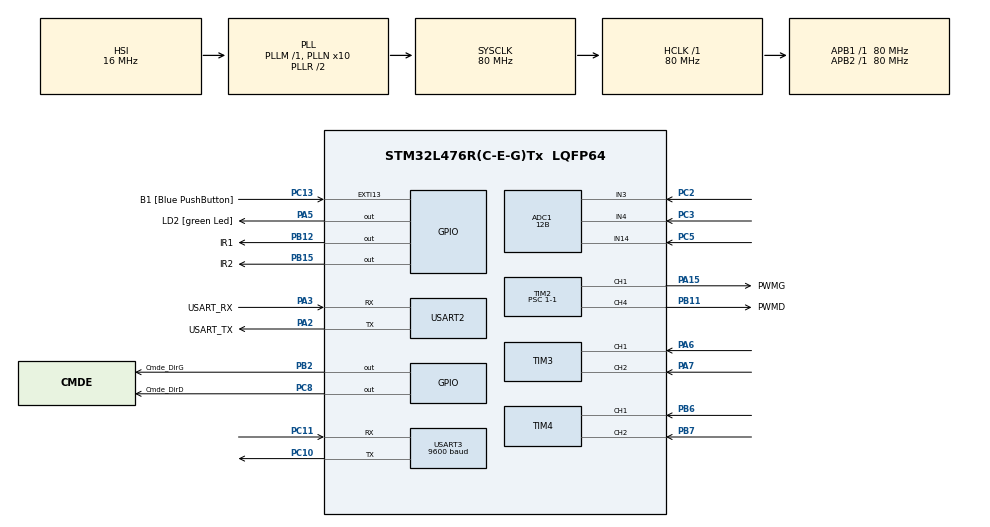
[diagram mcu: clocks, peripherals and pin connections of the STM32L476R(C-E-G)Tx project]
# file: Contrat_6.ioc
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ADC1.AWD1HighThreshold=4095
ADC1.AWD1ITMode=ENABLE
ADC1.AWD1LowThreshold=3723
ADC1.Channel-5\#ChannelRegularConversion=ADC_CHANNEL_14
ADC1.Channel-6\#ChannelRegularConversion=ADC_CHANNEL_3
ADC1.Channel-7\#ChannelRegularConversion=ADC_CHANNEL_4
ADC1.ClockPrescaler=ADC_CLOCK_ASYNC_DIV1
ADC1.DMAContinuousRequests=ENABLE
ADC1.EnableAnalogWatchDog1=true
ADC1.NbrOfConversion=3
ADC1.NbrOfConversionFlag=1
ADC1.OffsetNumber-5\#ChannelRegularConversion=ADC_OFFSET_NONE
ADC1.OffsetNumber-6\#ChannelRegularConversion=ADC_OFFSET_NONE
ADC1.OffsetNumber-7\#ChannelRegularConversion=ADC_OFFSET_NONE
ADC1.Rank-5\#ChannelRegularConversion=1
ADC1.Rank-6\#ChannelRegularConversion=2
ADC1.Rank-7\#ChannelRegularConversion=3
ADC1.Resolution=ADC_RESOLUTION_12B
ADC1.SamplingTime-5\#ChannelRegularConversion=ADC_SAMPLETIME_640CYCLES_5
ADC1.SamplingTime-6\#ChannelRegularConversion=ADC_SAMPLETIME_640CYCLES_5
ADC1.SamplingTime-7\#ChannelRegularConversion=ADC_SAMPLETIME_640CYCLES_5
ADC1.WatchdogChannel=ADC_CHANNEL_14
ADC1.master=1
Dma.ADC1.0.Direction=DMA_PERIPH_TO_MEMORY
Dma.ADC1.0.Instance=DMA1_Channel1
Dma.ADC1.0.MemDataAlignment=DMA_MDATAALIGN_HALFWORD
Dma.ADC1.0.MemInc=DMA_MINC_ENABLE
Dma.ADC1.0.Mode=DMA_NORMAL
Dma.ADC1.0.PeriphDataAlignment=DMA_PDATAALIGN_HALFWORD
Dma.ADC1.0.PeriphInc=DMA_PINC_DISABLE
Dma.ADC1.0.Priority=DMA_PRIORITY_LOW
Dma.Request0=ADC1
Mcu.Family=STM32L4
Mcu.Name=STM32L476R(C-E-G)Tx
Mcu.Package=LQFP64
NVIC.ADC1_2_IRQn=true\:0\:0\:false\:false\:true\:true\:true\:true
NVIC.DMA1_Channel1_IRQn=true\:0\:0\:false\:false\:true\:false\:true\:true
NVIC.EXTI15_10_IRQn=true\:0\:0\:false\:false\:true\:true\:true\:true
NVIC.PriorityGroup=NVIC_PRIORITYGROUP_4
NVIC.TIM2_IRQn=true\:0\:0\:false\:false\:true\:true\:true\:true
NVIC.TIM6_DAC_IRQn=true\:0\:0\:false\:false\:true\:true\:true\:true
PA13\ (JTMS-SWDIO).GPIO_Label=TMS
PA13\ (JTMS-SWDIO).Mode=Serial_Wire
PA13\ (JTMS-SWDIO).Signal=SYS_JTMS-SWDIO
PA14\ (JTCK-SWCLK).GPIO_Label=TCK
PA14\ (JTCK-SWCLK).Mode=Serial_Wire
PA14\ (JTCK-SWCLK).Signal=SYS_JTCK-SWCLK
PA15\ (JTDI).GPIO_Label=PWMG
PA15\ (JTDI).Signal=S_TIM2_CH1
PA2.GPIO_Label=USART_TX
PA2.GPIO_Mode=GPIO_MODE_AF_PP
PA2.GPIO_PuPd=GPIO_NOPULL
PA2.GPIO_Speed=GPIO_SPEED_FREQ_VERY_HIGH
PA2.Mode=Asynchronous
PA2.Signal=USART2_TX
PA3.GPIO_Label=USART_RX
PA3.GPIO_Mode=GPIO_MODE_AF_PP
PA3.GPIO_PuPd=GPIO_NOPULL
PA3.GPIO_Speed=GPIO_SPEED_FREQ_VERY_HIGH
PA3.Mode=Asynchronous
PA3.Signal=USART2_RX
PA5.GPIO_Label=LD2 [green Led]
PA5.GPIO_ModeDefaultOutputPP=GPIO_MODE_OUTPUT_PP
PA5.GPIO_PuPd=GPIO_NOPULL
PA5.GPIO_Speed=GPIO_SPEED_FREQ_LOW
PA5.Signal=GPIO_Output
PA6.Signal=S_TIM3_CH1
PA7.Signal=S_TIM3_CH2
PB11.GPIO_Label=PWMD
PB11.Signal=S_TIM2_CH4
PB12.GPIO_Label=IR1
PB12.Signal=GPIO_Output
PB15.GPIO_Label=IR2
PB15.Signal=GPIO_Output
PB2.GPIO_Label=Cmde_DirG
PB2.Signal=GPIO_Output
PB3\ (JTDO-TRACESWO).GPIO_Label=SWO
PB3\ (JTDO-TRACESWO).Signal=SYS_JTDO-SWO
PB6.Signal=S_TIM4_CH1
PB7.Signal=S_TIM4_CH2
PC10.Mode=Asynchronous
PC10.Signal=USART3_TX
PC11.Mode=Asynchronous
PC11.Signal=USART3_RX
PC13.GPIO_Label=B1 [Blue PushButton]
PC13.GPIO_ModeDefaultEXTI=GPIO_MODE_IT_FALLING
PC13.GPIO_PuPd=GPIO_NOPULL
PC13.Signal=GPXTI13
PC14-OSC32_IN\ (PC14).Mode=LSE-External-Oscillator
PC14-OSC32_IN\ (PC14).Signal=RCC_OSC32_IN
PC15-OSC32_OUT\ (PC15).Mode=LSE-External-Oscillator
PC15-OSC32_OUT\ (PC15).Signal=RCC_OSC32_OUT
PC2.Signal=ADCx_IN3
PC3.Signal=ADCx_IN4
PC5.Signal=ADCx_IN14
PC8.GPIO_Label=Cmde_DirD
PC8.Signal=GPIO_Output
PH0-OSC_IN\ (PH0).Signal=RCC_OSC_IN
PH1-OSC_OUT\ (PH1).Signal=RCC_OSC_OUT
ProjectManager.HeapSize=0x200
ProjectManager.StackSize=0x400
ProjectManager.TargetToolchain=STM32CubeIDE
RCC.ADCFreq_Value=64000000
RCC.AHBFreq_Value=80000000
RCC.APB1Freq_Value=80000000
RCC.APB1TimFreq_Value=80000000
RCC.APB2Freq_Value=80000000
RCC.APB2TimFreq_Value=80000000
RCC.CortexFreq_Value=80000000
RCC.HCLKFreq_Value=80000000
RCC.HSE_VALUE=8000000
RCC.HSI_VALUE=16000000
RCC.MSI_VALUE=4000000
RCC.PLLN=10
RCC.PLLSourceVirtual=RCC_PLLSOURCE_HSI
RCC.PREFETCH_ENABLE=1
RCC.SYSCLKFreq_VALUE=80000000
RCC.SYSCLKSource=RCC_SYSCLKSOURCE_PLLCLK
RCC.USBFreq_Value=64000000
RCC.VCOOutputFreq_Value=160000000
SH.ADCx_IN14.0=ADC1_IN14,IN14-Single-Ended
SH.ADCx_IN3.0=ADC1_IN3,IN3-Single-Ended
SH.ADCx_IN4.0=ADC1_IN4,IN4-Single-Ended
SH.S_TIM2_CH1.0=TIM2_CH1,PWM Generation1 CH1
SH.S_TIM2_CH4.0=TIM2_CH4,PWM Generation4 CH4
SH.S_TIM3_CH1.0=TIM3_CH1,Encoder_Interface
SH.S_TIM3_CH2.0=TIM3_CH2,Encoder_Interface
SH.S_TIM4_CH1.0=TIM4_CH1,Encoder_Interface
SH.S_TIM4_CH2.0=TIM4_CH2,Encoder_Interface
TIM2.Channel-PWM\ Generation1\ CH1=TIM_CHANNEL_1
TIM2.Channel-PWM\ Generation4\ CH4=TIM_CHANNEL_4
TIM2.Period=80000-1
TIM2.Prescaler=1-1
TIM6.Period=64000-1
TIM6.Prescaler=125-1
USART2.VirtualMode-Asynchronous=VM_ASYNC
USART3.BaudRate=9600
USART3.VirtualMode-Asynchronous=VM_ASYNC
VP_TIM6_VS_ClockSourceINT.Mode=Enable_Timer
board=NUCLEO-L476RG

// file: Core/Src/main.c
/* USER CODE BEGIN Header */
/**
  ******************************************************************************
  * @file           : main.c
  * @brief          : Main program body
  ******************************************************************************
  * @attention
  *
  * Copyright (c) 2025 STMicroelectronics.
  * All rights reserved.
  *
  * This software is licensed under terms that can be found in the LICENSE file
  * in the root directory of this software component.
  * If no LICENSE file comes with this software, it is provided AS-IS.
  *
  ******************************************************************************
  */
/* USER CODE END Header */
#include "main.h"

/* USER CODE BEGIN Includes */
#include "stdio.h"
#include "string.h"
/* USER CODE END Includes */

/* USER CODE BEGIN PD */
#define PWM_MAX 80000
#define Vmax	50 // tops/100ms
#define seuil 800
#define stop 600
/* USER CODE END PD */

ADC_HandleTypeDef hadc1;
DMA_HandleTypeDef hdma_adc1;

TIM_HandleTypeDef htim2;
TIM_HandleTypeDef htim3;
TIM_HandleTypeDef htim4;
TIM_HandleTypeDef htim6;

UART_HandleTypeDef huart2;
UART_HandleTypeDef huart3;

/* USER CODE BEGIN PV */
volatile uint8_t GO = 0;
volatile uint8_t Tbatt = 0;
uint8_t tim_started = 0;
uint32_t T = 0;
uint16_t buff[3];

// Paramètres PID
int Kp_D = 100, Ki_D = 80, Kd_D = 0; // Moteur Droit
int Kp_G =  100, Ki_G = 80, Kd_G = 0; // Moteur Gauche

// États PID moteur droit
int16_t erreur_D = 0, erreur_old_D = 0, derivee_D = 0;
int32_t integrale_D = 0;

// États PID moteur gauche
int16_t erreur_G = 0, erreur_old_G = 0, derivee_G = 0;
int32_t integrale_G = 0;

// Vitesse consigne/commande
uint32_t vitesse_consigne_D = 0.4*Vmax;
int32_t  pwm_D;
uint32_t vitesse_consigne_G = 0.4*Vmax;
int32_t  pwm_G;

// Variables codeur
uint16_t dist_old_D = 0, dist_now_D = 0;
uint16_t dist_old_G = 0, dist_now_G = 0;
int16_t vitesse_reelle_D = 0, vitesse_reelle_G = 0;
/* USER CODE END PV */

void SystemClock_Config(void);
static void MX_GPIO_Init(void);
static void MX_DMA_Init(void);
static void MX_USART2_UART_Init(void);
static void MX_TIM6_Init(void);
static void MX_ADC1_Init(void);
static void MX_TIM2_Init(void);
static void MX_TIM3_Init(void);
static void MX_TIM4_Init(void);
static void MX_USART3_UART_Init(void);

/* USER CODE BEGIN 0 */
void mesure_vitesse()
{
    // Codeur Droit - TIM3
    dist_now_D = __HAL_TIM_GET_COUNTER(&htim3);
    vitesse_reelle_D = (dist_now_D >= dist_old_D) ?
                       (dist_now_D - dist_old_D) :
                       (65535 - dist_old_D + dist_now_D);
    dist_old_D = dist_now_D;

    // Codeur Gauche - TIM4
    dist_now_G = __HAL_TIM_GET_COUNTER(&htim4);
    vitesse_reelle_G = (dist_now_G >= dist_old_G) ?
                       (dist_now_G - dist_old_G) :
                       (65535 - dist_old_G + dist_now_G);
    dist_old_G = dist_now_G;
}

void pid_vitesse()
{
    // PID droit
    erreur_D = vitesse_consigne_D - vitesse_reelle_D;
    integrale_D += erreur_D;
    derivee_D = erreur_D - erreur_old_D;
    erreur_old_D = erreur_D;

    pwm_D = Kp_D * erreur_D + Ki_D * integrale_D + Kd_D * derivee_D;
    if (pwm_D > PWM_MAX) pwm_D = PWM_MAX;
    if (pwm_D < 0) pwm_D = 0;

    // PID gauche
    erreur_G = vitesse_consigne_G - vitesse_reelle_G;
    integrale_G += erreur_G;
    derivee_G = erreur_G - erreur_old_G;
    erreur_old_G = erreur_G;

    pwm_G = Kp_G * erreur_G + Ki_G * integrale_G + Kd_G * derivee_G;
    if (pwm_G > PWM_MAX) pwm_G = PWM_MAX;
    if (pwm_G < 0) pwm_G = 0;
}

void parcours() {
	uint16_t ir1 = buff[1];  // capteur droit
    uint16_t ir2 = buff[2];  // capteur gauche

    if (ir1 > seuil && ir2 > seuil)
    {
		  __HAL_TIM_SET_COMPARE(&htim2, TIM_CHANNEL_1, pwm_G);
		  __HAL_TIM_SET_COMPARE(&htim2, TIM_CHANNEL_4, pwm_D);
		  HAL_GPIO_WritePin(Cmde_DirD_GPIO_Port, Cmde_DirD_Pin, 1);
		  HAL_GPIO_WritePin(Cmde_DirG_GPIO_Port, Cmde_DirG_Pin, 1);
    }
    else
    {
    	if (ir1 < stop && ir2 < stop)
    	{
 		   GO = 0;
		   HAL_TIM_Base_Stop(&htim6);
	       char msg[64];
	       snprintf(msg, sizeof(msg), "Temps de parcours = %ld.%ld s\r\n", (T*100)/1000, (T*100)%1000);
	       HAL_UART_Transmit(&huart3, (uint8_t*)msg, strlen(msg), HAL_MAX_DELAY);
		   return;
    	}
    	if (ir1 < seuil)
    	{
  		  __HAL_TIM_SET_COMPARE(&htim2, TIM_CHANNEL_1, pwm_G);
  		  __HAL_TIM_SET_COMPARE(&htim2, TIM_CHANNEL_4, 0.5*pwm_D);
  		  HAL_GPIO_WritePin(Cmde_DirD_GPIO_Port, Cmde_DirD_Pin, 1);
  		  HAL_GPIO_WritePin(Cmde_DirG_GPIO_Port, Cmde_DirG_Pin, 0);
    	}
    	if (ir2 < seuil)
    	{
  		  __HAL_TIM_SET_COMPARE(&htim2, TIM_CHANNEL_1, pwm_G);
  		  __HAL_TIM_SET_COMPARE(&htim2, TIM_CHANNEL_4, 0.5*pwm_D);
  		  HAL_GPIO_WritePin(Cmde_DirD_GPIO_Port, Cmde_DirD_Pin, 0);
  		  HAL_GPIO_WritePin(Cmde_DirG_GPIO_Port, Cmde_DirG_Pin, 1);
    	}

    }
    return;
}
/* USER CODE END 0 */

int main(void)
{

  /* MCU Configuration--------------------------------------------------------*/

  /* Reset of all peripherals, Initializes the Flash interface and the Systick. */
  HAL_Init();

  /* Configure the system clock */
  SystemClock_Config();

  /* Initialize all configured peripherals */
  MX_GPIO_Init();
  MX_DMA_Init();
  MX_USART2_UART_Init();
  MX_TIM6_Init();
  MX_ADC1_Init();
  MX_TIM2_Init();
  MX_TIM3_Init();
  MX_TIM4_Init();
  MX_USART3_UART_Init();
  /* USER CODE BEGIN 2 */
  HAL_GPIO_WritePin(IR1_GPIO_Port, IR1_Pin, GPIO_PIN_SET);
  HAL_GPIO_WritePin(IR2_GPIO_Port, IR2_Pin, GPIO_PIN_SET);
  HAL_TIM_PWM_Start(&htim2, TIM_CHANNEL_1);
  HAL_TIM_PWM_Start(&htim2, TIM_CHANNEL_4);
  /* USER CODE END 2 */

  /* Infinite loop */
  /* USER CODE BEGIN WHILE */
  while (1)
  {
	  if (GO) {
		  if (!tim_started)
		  {
			  HAL_TIM_Base_Start_IT(&htim6);
			  tim_started = 1;
		  }
		  if (Tbatt >= 1)
		  {
			  HAL_ADC_Start_DMA(&hadc1, (uint32_t *)buff, 3);
			  Tbatt = 0;
		  }

	      int tension = (int)(((float)buff[0] * 8) / 4.095f);
	      char msg[64];
	      snprintf(msg, sizeof(msg), "Vbatt = %d mV\r\n", tension);
	      HAL_UART_Transmit(&huart2, (uint8_t*)msg, strlen(msg), HAL_MAX_DELAY);

	      parcours();
	      snprintf(msg, sizeof(msg), "vitesse droite = %ld / vitesse gauche = %ld\r\n", pwm_D, pwm_G);
	      HAL_UART_Transmit(&huart2, (uint8_t*)msg, strlen(msg), HAL_MAX_DELAY);
	  }
	  else
	  {
		   __HAL_TIM_SET_COMPARE(&htim2, TIM_CHANNEL_1, 0);
		   __HAL_TIM_SET_COMPARE(&htim2, TIM_CHANNEL_4, 0);
	       T = 0;
	       tim_started = 0;
	  }
    /* USER CODE END WHILE */

  }
}

void SystemClock_Config(void)
{
  RCC_OscInitTypeDef RCC_OscInitStruct = {0};
  RCC_ClkInitTypeDef RCC_ClkInitStruct = {0};

  /** Configure the main internal regulator output voltage
  */
  if (HAL_PWREx_ControlVoltageScaling(PWR_REGULATOR_VOLTAGE_SCALE1) != HAL_OK)
  {
    Error_Handler();
  }

  /** Initializes the RCC Oscillators according to the specified parameters
  * in the RCC_OscInitTypeDef structure.
  */
  RCC_OscInitStruct.OscillatorType = RCC_OSCILLATORTYPE_HSI;
  RCC_OscInitStruct.HSIState = RCC_HSI_ON;
  RCC_OscInitStruct.HSICalibrationValue = RCC_HSICALIBRATION_DEFAULT;
  RCC_OscInitStruct.PLL.PLLState = RCC_PLL_ON;
  RCC_OscInitStruct.PLL.PLLSource = RCC_PLLSOURCE_HSI;
  RCC_OscInitStruct.PLL.PLLM = 1;
  RCC_OscInitStruct.PLL.PLLN = 10;
  RCC_OscInitStruct.PLL.PLLP = RCC_PLLP_DIV7;
  RCC_OscInitStruct.PLL.PLLQ = RCC_PLLQ_DIV2;
  RCC_OscInitStruct.PLL.PLLR = RCC_PLLR_DIV2;
  if (HAL_RCC_OscConfig(&RCC_OscInitStruct) != HAL_OK)
  {
    Error_Handler();
  }

  /** Initializes the CPU, AHB and APB buses clocks
  */
  RCC_ClkInitStruct.ClockType = RCC_CLOCKTYPE_HCLK|RCC_CLOCKTYPE_SYSCLK
                              |RCC_CLOCKTYPE_PCLK1|RCC_CLOCKTYPE_PCLK2;
  RCC_ClkInitStruct.SYSCLKSource = RCC_SYSCLKSOURCE_PLLCLK;
  RCC_ClkInitStruct.AHBCLKDivider = RCC_SYSCLK_DIV1;
  RCC_ClkInitStruct.APB1CLKDivider = RCC_HCLK_DIV1;
  RCC_ClkInitStruct.APB2CLKDivider = RCC_HCLK_DIV1;

  if (HAL_RCC_ClockConfig(&RCC_ClkInitStruct, FLASH_LATENCY_4) != HAL_OK)
  {
    Error_Handler();
  }
}

static void MX_ADC1_Init(void)
{

  ADC_MultiModeTypeDef multimode = {0};
  ADC_AnalogWDGConfTypeDef AnalogWDGConfig = {0};
  ADC_ChannelConfTypeDef sConfig = {0};

  /** Common config
  */
  hadc1.Instance = ADC1;
  hadc1.Init.ClockPrescaler = ADC_CLOCK_ASYNC_DIV1;
  hadc1.Init.Resolution = ADC_RESOLUTION_12B;
  hadc1.Init.DataAlign = ADC_DATAALIGN_RIGHT;
  hadc1.Init.ScanConvMode = ADC_SCAN_ENABLE;
  hadc1.Init.EOCSelection = ADC_EOC_SINGLE_CONV;
  hadc1.Init.LowPowerAutoWait = DISABLE;
  hadc1.Init.ContinuousConvMode = DISABLE;
  hadc1.Init.NbrOfConversion = 3;
  hadc1.Init.DiscontinuousConvMode = DISABLE;
  hadc1.Init.ExternalTrigConv = ADC_SOFTWARE_START;
  hadc1.Init.ExternalTrigConvEdge = ADC_EXTERNALTRIGCONVEDGE_NONE;
  hadc1.Init.DMAContinuousRequests = ENABLE;
  hadc1.Init.Overrun = ADC_OVR_DATA_PRESERVED;
  hadc1.Init.OversamplingMode = DISABLE;
  if (HAL_ADC_Init(&hadc1) != HAL_OK)
  {
    Error_Handler();
  }

  /** Configure the ADC multi-mode
  */
  multimode.Mode = ADC_MODE_INDEPENDENT;
  if (HAL_ADCEx_MultiModeConfigChannel(&hadc1, &multimode) != HAL_OK)
  {
    Error_Handler();
  }

  /** Configure Analog WatchDog 1
  */
  AnalogWDGConfig.WatchdogNumber = ADC_ANALOGWATCHDOG_1;
  AnalogWDGConfig.WatchdogMode = ADC_ANALOGWATCHDOG_SINGLE_REG;
  AnalogWDGConfig.Channel = ADC_CHANNEL_14;
  AnalogWDGConfig.ITMode = ENABLE;
  AnalogWDGConfig.HighThreshold = 4095;
  AnalogWDGConfig.LowThreshold = 3723;
  if (HAL_ADC_AnalogWDGConfig(&hadc1, &AnalogWDGConfig) != HAL_OK)
  {
    Error_Handler();
  }

  /** Configure Regular Channel
  */
  sConfig.Channel = ADC_CHANNEL_14;
  sConfig.Rank = ADC_REGULAR_RANK_1;
  sConfig.SamplingTime = ADC_SAMPLETIME_640CYCLES_5;
  sConfig.SingleDiff = ADC_SINGLE_ENDED;
  sConfig.OffsetNumber = ADC_OFFSET_NONE;
  sConfig.Offset = 0;
  if (HAL_ADC_ConfigChannel(&hadc1, &sConfig) != HAL_OK)
  {
    Error_Handler();
  }

  /** Configure Regular Channel
  */
  sConfig.Channel = ADC_CHANNEL_3;
  sConfig.Rank = ADC_REGULAR_RANK_2;
  if (HAL_ADC_ConfigChannel(&hadc1, &sConfig) != HAL_OK)
  {
    Error_Handler();
  }

  /** Configure Regular Channel
  */
  sConfig.Channel = ADC_CHANNEL_4;
  sConfig.Rank = ADC_REGULAR_RANK_3;
  if (HAL_ADC_ConfigChannel(&hadc1, &sConfig) != HAL_OK)
  {
    Error_Handler();
  }

}

static void MX_TIM2_Init(void)
{

  TIM_ClockConfigTypeDef sClockSourceConfig = {0};
  TIM_MasterConfigTypeDef sMasterConfig = {0};
  TIM_OC_InitTypeDef sConfigOC = {0};

  htim2.Instance = TIM2;
  htim2.Init.Prescaler = 1-1;
  htim2.Init.CounterMode = TIM_COUNTERMODE_UP;
  htim2.Init.Period = 80000-1;
  htim2.Init.ClockDivision = TIM_CLOCKDIVISION_DIV1;
  htim2.Init.AutoReloadPreload = TIM_AUTORELOAD_PRELOAD_DISABLE;
  if (HAL_TIM_Base_Init(&htim2) != HAL_OK)
  {
    Error_Handler();
  }
  sClockSourceConfig.ClockSource = TIM_CLOCKSOURCE_INTERNAL;
  if (HAL_TIM_ConfigClockSource(&htim2, &sClockSourceConfig) != HAL_OK)
  {
    Error_Handler();
  }
  if (HAL_TIM_PWM_Init(&htim2) != HAL_OK)
  {
    Error_Handler();
  }
  sMasterConfig.MasterOutputTrigger = TIM_TRGO_RESET;
  sMasterConfig.MasterSlaveMode = TIM_MASTERSLAVEMODE_DISABLE;
  if (HAL_TIMEx_MasterConfigSynchronization(&htim2, &sMasterConfig) != HAL_OK)
  {
    Error_Handler();
  }
  sConfigOC.OCMode = TIM_OCMODE_PWM1;
  sConfigOC.Pulse = 0;
  sConfigOC.OCPolarity = TIM_OCPOLARITY_HIGH;
  sConfigOC.OCFastMode = TIM_OCFAST_DISABLE;
  if (HAL_TIM_PWM_ConfigChannel(&htim2, &sConfigOC, TIM_CHANNEL_1) != HAL_OK)
  {
    Error_Handler();
  }
  if (HAL_TIM_PWM_ConfigChannel(&htim2, &sConfigOC, TIM_CHANNEL_4) != HAL_OK)
  {
    Error_Handler();
  }
  HAL_TIM_MspPostInit(&htim2);

}

static void MX_TIM3_Init(void)
{

  TIM_Encoder_InitTypeDef sConfig = {0};
  TIM_MasterConfigTypeDef sMasterConfig = {0};

  htim3.Instance = TIM3;
  htim3.Init.Prescaler = 1-1;
  htim3.Init.CounterMode = TIM_COUNTERMODE_UP;
  htim3.Init.Period = 65535;
  htim3.Init.ClockDivision = TIM_CLOCKDIVISION_DIV1;
  htim3.Init.AutoReloadPreload = TIM_AUTORELOAD_PRELOAD_DISABLE;
  sConfig.EncoderMode = TIM_ENCODERMODE_TI12;
  sConfig.IC1Polarity = TIM_ICPOLARITY_RISING;
  sConfig.IC1Selection = TIM_ICSELECTION_DIRECTTI;
  sConfig.IC1Prescaler = TIM_ICPSC_DIV1;
  sConfig.IC1Filter = 0;
  sConfig.IC2Polarity = TIM_ICPOLARITY_RISING;
  sConfig.IC2Selection = TIM_ICSELECTION_DIRECTTI;
  sConfig.IC2Prescaler = TIM_ICPSC_DIV1;
  sConfig.IC2Filter = 0;
  if (HAL_TIM_Encoder_Init(&htim3, &sConfig) != HAL_OK)
  {
    Error_Handler();
  }
  sMasterConfig.MasterOutputTrigger = TIM_TRGO_RESET;
  sMasterConfig.MasterSlaveMode = TIM_MASTERSLAVEMODE_DISABLE;
  if (HAL_TIMEx_MasterConfigSynchronization(&htim3, &sMasterConfig) != HAL_OK)
  {
    Error_Handler();
  }

}

static void MX_TIM4_Init(void)
{

  TIM_Encoder_InitTypeDef sConfig = {0};
  TIM_MasterConfigTypeDef sMasterConfig = {0};

  htim4.Instance = TIM4;
  htim4.Init.Prescaler = 1-1;
  htim4.Init.CounterMode = TIM_COUNTERMODE_UP;
  htim4.Init.Period = 65535;
  htim4.Init.ClockDivision = TIM_CLOCKDIVISION_DIV1;
  htim4.Init.AutoReloadPreload = TIM_AUTORELOAD_PRELOAD_DISABLE;
  sConfig.EncoderMode = TIM_ENCODERMODE_TI12;
  sConfig.IC1Polarity = TIM_ICPOLARITY_RISING;
  sConfig.IC1Selection = TIM_ICSELECTION_DIRECTTI;
  sConfig.IC1Prescaler = TIM_ICPSC_DIV1;
  sConfig.IC1Filter = 0;
  sConfig.IC2Polarity = TIM_ICPOLARITY_RISING;
  sConfig.IC2Selection = TIM_ICSELECTION_DIRECTTI;
  sConfig.IC2Prescaler = TIM_ICPSC_DIV1;
  sConfig.IC2Filter = 0;
  if (HAL_TIM_Encoder_Init(&htim4, &sConfig) != HAL_OK)
  {
    Error_Handler();
  }
  sMasterConfig.MasterOutputTrigger = TIM_TRGO_RESET;
  sMasterConfig.MasterSlaveMode = TIM_MASTERSLAVEMODE_DISABLE;
  if (HAL_TIMEx_MasterConfigSynchronization(&htim4, &sMasterConfig) != HAL_OK)
  {
    Error_Handler();
  }

}

static void MX_TIM6_Init(void)
{

  TIM_MasterConfigTypeDef sMasterConfig = {0};

  htim6.Instance = TIM6;
  htim6.Init.Prescaler = 125-1;
  htim6.Init.CounterMode = TIM_COUNTERMODE_UP;
  htim6.Init.Period = 64000-1;
  htim6.Init.AutoReloadPreload = TIM_AUTORELOAD_PRELOAD_DISABLE;
  if (HAL_TIM_Base_Init(&htim6) != HAL_OK)
  {
    Error_Handler();
  }
  sMasterConfig.MasterOutputTrigger = TIM_TRGO_RESET;
  sMasterConfig.MasterSlaveMode = TIM_MASTERSLAVEMODE_DISABLE;
  if (HAL_TIMEx_MasterConfigSynchronization(&htim6, &sMasterConfig) != HAL_OK)
  {
    Error_Handler();
  }

}

static void MX_USART2_UART_Init(void)
{

  huart2.Instance = USART2;
  huart2.Init.BaudRate = 115200;
  huart2.Init.WordLength = UART_WORDLENGTH_8B;
  huart2.Init.StopBits = UART_STOPBITS_1;
  huart2.Init.Parity = UART_PARITY_NONE;
  huart2.Init.Mode = UART_MODE_TX_RX;
  huart2.Init.HwFlowCtl = UART_HWCONTROL_NONE;
  huart2.Init.OverSampling = UART_OVERSAMPLING_16;
  huart2.Init.OneBitSampling = UART_ONE_BIT_SAMPLE_DISABLE;
  huart2.AdvancedInit.AdvFeatureInit = UART_ADVFEATURE_NO_INIT;
  if (HAL_UART_Init(&huart2) != HAL_OK)
  {
    Error_Handler();
  }

}

static void MX_USART3_UART_Init(void)
{

  huart3.Instance = USART3;
  huart3.Init.BaudRate = 9600;
  huart3.Init.WordLength = UART_WORDLENGTH_8B;
  huart3.Init.StopBits = UART_STOPBITS_1;
  huart3.Init.Parity = UART_PARITY_NONE;
  huart3.Init.Mode = UART_MODE_TX_RX;
  huart3.Init.HwFlowCtl = UART_HWCONTROL_NONE;
  huart3.Init.OverSampling = UART_OVERSAMPLING_16;
  huart3.Init.OneBitSampling = UART_ONE_BIT_SAMPLE_DISABLE;
  huart3.AdvancedInit.AdvFeatureInit = UART_ADVFEATURE_NO_INIT;
  if (HAL_UART_Init(&huart3) != HAL_OK)
  {
    Error_Handler();
  }

}

static void MX_DMA_Init(void)
{

  /* DMA controller clock enable */
  __HAL_RCC_DMA1_CLK_ENABLE();

  /* DMA interrupt init */
  /* DMA1_Channel1_IRQn interrupt configuration */
  HAL_NVIC_SetPriority(DMA1_Channel1_IRQn, 0, 0);
  HAL_NVIC_EnableIRQ(DMA1_Channel1_IRQn);

}

static void MX_GPIO_Init(void)
{
  GPIO_InitTypeDef GPIO_InitStruct = {0};

  /* GPIO Ports Clock Enable */
  __HAL_RCC_GPIOC_CLK_ENABLE();
  __HAL_RCC_GPIOH_CLK_ENABLE();
  __HAL_RCC_GPIOA_CLK_ENABLE();
  __HAL_RCC_GPIOB_CLK_ENABLE();

  /*Configure GPIO pin Output Level */
  HAL_GPIO_WritePin(LD2_GPIO_Port, LD2_Pin, GPIO_PIN_RESET);

  /*Configure GPIO pin Output Level */
  HAL_GPIO_WritePin(GPIOB, Cmde_DirG_Pin|IR1_Pin|IR2_Pin, GPIO_PIN_RESET);

  /*Configure GPIO pin Output Level */
  HAL_GPIO_WritePin(Cmde_DirD_GPIO_Port, Cmde_DirD_Pin, GPIO_PIN_RESET);

  /*Configure GPIO pin : B1_Pin */
  GPIO_InitStruct.Pin = B1_Pin;
  GPIO_InitStruct.Mode = GPIO_MODE_IT_FALLING;
  GPIO_InitStruct.Pull = GPIO_NOPULL;
  HAL_GPIO_Init(B1_GPIO_Port, &GPIO_InitStruct);

  /*Configure GPIO pin : LD2_Pin */
  GPIO_InitStruct.Pin = LD2_Pin;
  GPIO_InitStruct.Mode = GPIO_MODE_OUTPUT_PP;
  GPIO_InitStruct.Pull = GPIO_NOPULL;
  GPIO_InitStruct.Speed = GPIO_SPEED_FREQ_LOW;
  HAL_GPIO_Init(LD2_GPIO_Port, &GPIO_InitStruct);

  /*Configure GPIO pins : Cmde_DirG_Pin IR1_Pin IR2_Pin */
  GPIO_InitStruct.Pin = Cmde_DirG_Pin|IR1_Pin|IR2_Pin;
  GPIO_InitStruct.Mode = GPIO_MODE_OUTPUT_PP;
  GPIO_InitStruct.Pull = GPIO_NOPULL;
  GPIO_InitStruct.Speed = GPIO_SPEED_FREQ_LOW;
  HAL_GPIO_Init(GPIOB, &GPIO_InitStruct);

  /*Configure GPIO pin : Cmde_DirD_Pin */
  GPIO_InitStruct.Pin = Cmde_DirD_Pin;
  GPIO_InitStruct.Mode = GPIO_MODE_OUTPUT_PP;
  GPIO_InitStruct.Pull = GPIO_NOPULL;
  GPIO_InitStruct.Speed = GPIO_SPEED_FREQ_LOW;
  HAL_GPIO_Init(Cmde_DirD_GPIO_Port, &GPIO_InitStruct);

  /* EXTI interrupt init*/
  HAL_NVIC_SetPriority(EXTI15_10_IRQn, 0, 0);
  HAL_NVIC_EnableIRQ(EXTI15_10_IRQn);

}

/* USER CODE BEGIN 4 */
void HAL_GPIO_EXTI_Callback(uint16_t GPIO_Pin)
{
  if(GPIO_Pin == B1_Pin)
    GO = !GO;
}

void HAL_ADC_LevelOutOfWindowCallback(ADC_HandleTypeDef *hadc) {
    if (hadc->Instance == ADC1) {
    	HAL_GPIO_WritePin(LD2_GPIO_Port, LD2_Pin, GPIO_PIN_SET);
    }
}

void HAL_TIM_PeriodElapsedCallback(TIM_HandleTypeDef *htim)
{
  if(htim->Instance == TIM6) {
	  if (GO)
	  {
		Tbatt++;
		T++;
		mesure_vitesse();
		pid_vitesse();
	  }
  }
}

//void HAL_ADC_ConvCpltCallback(ADC_HandleTypeDef* hadc)
//{
//  if (hadc->Instance == ADC1) {
//    uint32_t val = HAL_ADC_GetValue(hadc);
//
//    switch(cpt) {
//      case 0:
//        vbatt = val;
//        cpt++;
//        break;
//      case 1:
//        IR1 = val;
//        cpt++;
//        break;
//      case 2:
//        IR2 = val;
//        adc_done = 1;
//        cpt = 0;
//        break;
//    }
//  }
//}

/* USER CODE END 4 */

void Error_Handler(void)
{
  __disable_irq();
  while (1)
  {
  }
}
